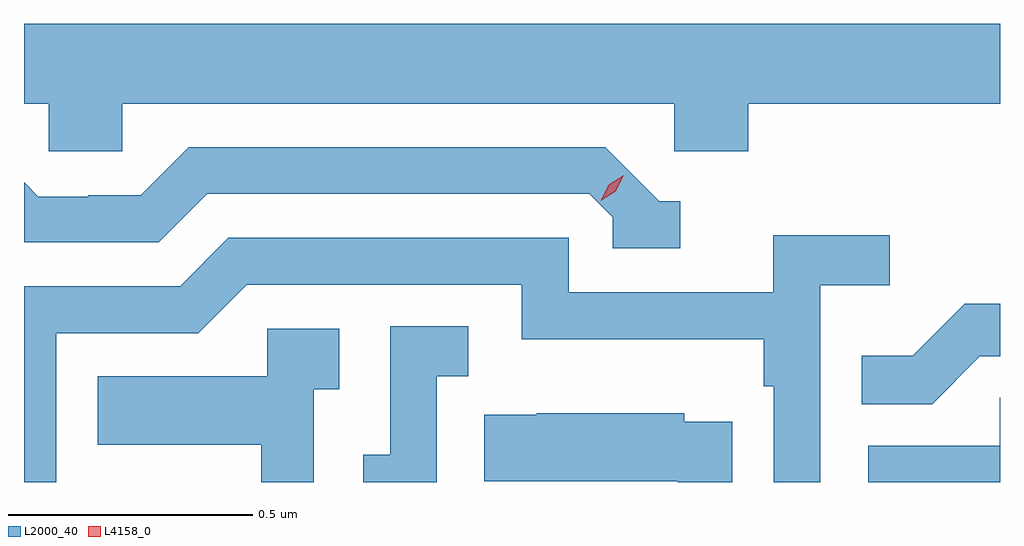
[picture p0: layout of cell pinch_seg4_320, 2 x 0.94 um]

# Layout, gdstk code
import gdstk
lib = gdstk.Library(unit=1e-6, precision=1e-09)
def P(c, l, *ps):  # polygons
    for p in ps: c.add(gdstk.Polygon(p, *l))
L2000_40 = (2000, 40)
L4158_0 = (4158, 0)

pinch_seg4_320 = lib.new_cell('pinch_seg4_320')
P(pinch_seg4_320, L2000_40, [(910.401,794.156),(911.532,794.156),(911.532,794.058),(911.684,794.058),(911.684,794.156),(912.2,794.156),(912.2,794.32),(910.2,794.32),(910.2,794.156),(910.251,794.156),(910.251,794.058),(910.401,794.058)],
  [(911.545,793.956),(911.502,793.956),(911.391,794.067),(910.538,794.067),(910.439,793.968),(910.332,793.968),(910.332,793.965),(910.229,793.965),(910.2,793.995),(910.2,793.872),(910.476,793.872),(910.575,793.971),(911.358,793.971),(911.406,793.923),(911.406,793.86),(911.545,793.86)],
  [(910.266,793.686),(910.557,793.686),(910.656,793.785),(911.22,793.785),(911.22,793.673),(911.716,793.673),(911.716,793.577),(911.736,793.577),(911.736,793.38),(911.832,793.38),(911.832,793.784),(911.974,793.784),(911.974,793.886),(911.735,793.886),(911.735,793.77),(911.316,793.77),(911.316,793.881),(910.619,793.881),(910.52,793.782),(910.2,793.782),(910.2,793.38),(910.266,793.38)],
  [(912.159,793.638),(912.2,793.638),(912.2,793.746),(912.128,793.746),(912.021,793.639),(911.917,793.639),(911.917,793.54),(912.061,793.54)],
  [(911.046,793.597),(911.11,793.597),(911.11,793.7),(910.95,793.7),(910.95,793.437),(910.895,793.437),(910.895,793.38),(911.046,793.38)],
  [(910.794,793.571),(910.846,793.571),(910.846,793.695),(910.698,793.695),(910.698,793.597),(910.351,793.597),(910.351,793.457),(910.686,793.457),(910.686,793.38),(910.794,793.38)],
  [(912.2,793.553),(912.199,793.553),(912.199,793.455),(911.93,793.455),(911.93,793.38),(912.2,793.38)],
  [(911.651,793.504),(911.553,793.504),(911.553,793.522),(911.251,793.522),(911.251,793.519),(911.143,793.519),(911.143,793.382),(911.54,793.382),(911.54,793.38),(911.651,793.38)])
P(pinch_seg4_320, L4158_0, [(911.382,793.957),(911.382,793.957),(911.398,793.99),(911.429,794.009),(911.429,794.009),(911.429,794.009),(911.413,793.977),(911.382,793.957)])

lib.write_gds('pinch_seg4_320.gds')
